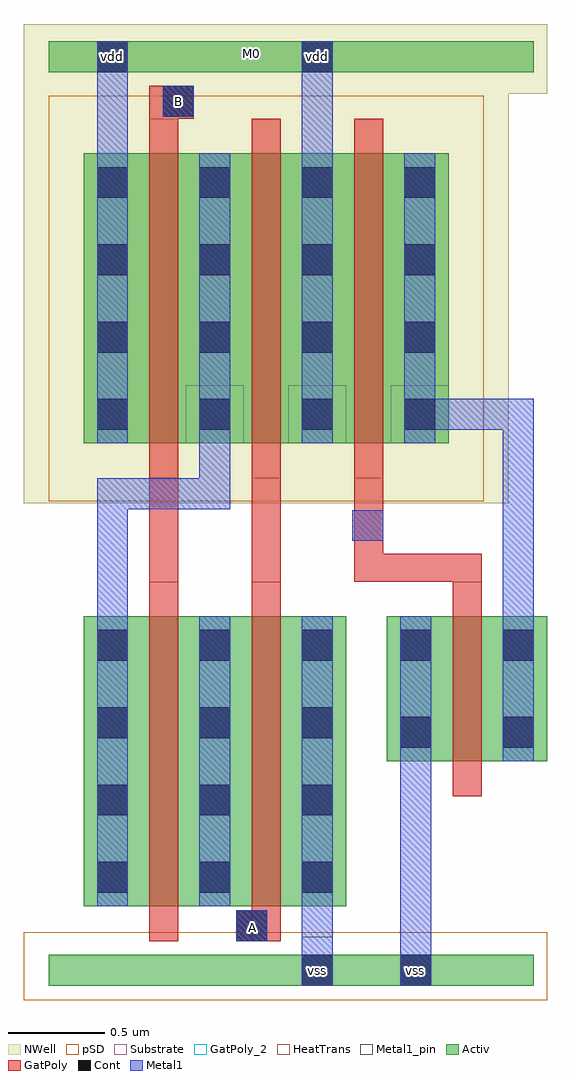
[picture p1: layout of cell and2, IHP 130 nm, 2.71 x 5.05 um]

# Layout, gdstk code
import gdstk
lib = gdstk.Library(unit=1e-6, precision=5e-09)
def R(c, l, rs):  # rectangles x0, y0, x1, y1
    for r in rs: c.add(gdstk.rectangle(r[:2], r[2:], *l))
def A(c, l, x, y, w, h, nx, ny, dx, dy):  # array of equal rectangles
    R(c, l, [(x+i*dx, y+j*dy, x+i*dx+w, y+j*dy+h) for i in range(nx) for j in range(ny)])
Activ = (1, 0)
GatPoly = (5, 0)
GatPoly_2 = (5, 2)
Cont = (6, 0)
Metal1 = (8, 0)
Metal1_pin = (8, 2)
pSD = (14, 0)
NWell = (31, 0)
Substrate = (40, 0)
HeatTrans = (51, 0)

pmos_1 = lib.new_cell('pmos$1')
R(pmos_1, Activ, [(0,0,0.3,0.3), (0,0,0.83,1.5), (0.53,0,0.83,0.3)])
R(pmos_1, GatPoly, [(0.34,-0.18,0.49,1.68), (0.34,-0.18,0.49,1.68)])
A(pmos_1, Cont, 0.07, 0.07, 0.16, 0.16, 1, 4, 0, 0.4)
A(pmos_1, Cont, 0.6, 0.07, 0.16, 0.16, 1, 4, 0, 0.4)
R(pmos_1, Metal1, [(0.07,0,0.23,1.5), (0.07,0,0.23,1.5), (0.6,0,0.76,1.5), (0.6,0,0.76,1.5)])
R(pmos_1, pSD, [(-0.18,-0.3,1.01,1.8)])
R(pmos_1, NWell, [(-0.31,-0.31,1.14,1.81)])
R(pmos_1, Substrate, [(0.53,0,0.83,0.3)])
R(pmos_1, HeatTrans, [(0.34,-0.18,0.49,1.68)])
pmos_1.add(gdstk.Label('pmos', (0.415,0.75), layer=63, texttype=0))
pmos_1.add(gdstk.Label('pmos', (0.415,0.75), layer=51, texttype=0))

nmos_1 = lib.new_cell('nmos$1')
R(nmos_1, Activ, [(0,0,0.3,0.3), (0,0,0.83,0.75), (0.53,0,0.83,0.3)])
R(nmos_1, GatPoly, [(0.34,-0.18,0.49,0.93)])
R(nmos_1, GatPoly_2, [(0.34,-0.18,0.49,0.93)])
R(nmos_1, Cont, [(0.07,0.07,0.23,0.23), (0.6,0.07,0.76,0.23), (0.07,0.52,0.23,0.68), (0.6,0.52,0.76,0.68)])
R(nmos_1, Metal1, [(0.07,0,0.23,0.75), (0.6,0,0.76,0.75)])
R(nmos_1, Metal1_pin, [(0.07,0,0.23,0.75), (0.6,0,0.76,0.75)])
R(nmos_1, HeatTrans, [(0.34,-0.18,0.49,0.93)])
nmos_1.add(gdstk.Label('nmos', (0.415,0.375), layer=63, texttype=0))
nmos_1.add(gdstk.Label('nmos', (0.415,0.375), layer=51, texttype=0))

nmos = lib.new_cell('nmos')
R(nmos, Activ, [(0,0,0.3,0.3), (0,0,0.83,1.5), (0.53,0,0.83,0.3)])
R(nmos, GatPoly, [(0.34,-0.18,0.49,1.68)])
R(nmos, GatPoly_2, [(0.34,-0.18,0.49,1.68)])
A(nmos, Cont, 0.07, 0.07, 0.16, 0.16, 1, 4, 0, 0.4)
A(nmos, Cont, 0.6, 0.07, 0.16, 0.16, 1, 4, 0, 0.4)
R(nmos, Metal1, [(0.07,0,0.23,1.5), (0.6,0,0.76,1.5)])
R(nmos, Metal1_pin, [(0.07,0,0.23,1.5), (0.6,0,0.76,1.5)])
R(nmos, HeatTrans, [(0.34,-0.18,0.49,1.68)])
nmos.add(gdstk.Label('nmos', (0.415,0.75), layer=63, texttype=0))
nmos.add(gdstk.Label('nmos', (0.415,0.75), layer=51, texttype=0))

and2 = lib.new_cell('and2')
R(and2, Activ, [(-0.94,-1.52,1.57,-1.36), (-0.94,3.205,1.57,3.365)])
A(and2, GatPoly, -0.42, 0.57, 0.15, 0.535, 3, 1, 0.53, 0)
R(and2, GatPoly, [(0.03,-1.29,0.19,-1.13), (0.03,-1.29,0.185,-1.13), (0.64,0.57,1.3,0.715), (-0.42,2.965,-0.19,3.135)])
R(and2, Cont, [(0.37,-1.52,0.53,-1.36), (0.88,-1.52,1.04,-1.36), (0.03,-1.29,0.19,-1.13), (-0.35,2.975,-0.19,3.135), (-0.69,3.205,-0.53,3.365), (0.37,3.205,0.53,3.365)])
R(and2, Metal1, [(0.37,-1.52,0.53,-1.11), (0.88,-1.52,1.04,-0.36), (0.03,-1.29,0.19,-1.13), (-0.69,0.39,-0.53,1.105), (1.41,0.39,1.57,1.515), (0.63,0.78,0.79,0.94), (-0.69,0.945,0,1.105), (-0.16,0.98,0,1.35), (0.9,1.355,1.41,1.515), (-0.69,2.775,-0.53,3.365), (0.37,2.785,0.53,3.365), (-0.35,2.975,-0.19,3.135)])
R(and2, Metal1_pin, [(0.88,-1.52,1.04,-1.36), (0.03,-1.29,0.19,-1.13), (0.37,-1.27,0.53,-1.11), (0.63,0.78,0.79,0.94), (0.63,0.78,0.79,0.94), (-0.35,2.975,-0.19,3.135)])
R(and2, pSD, [(-1.07,-1.595,1.64,-1.245)])
R(and2, NWell, [(-1.07,3.095,1.64,3.455)])
and2.add(gdstk.Reference(pmos_1, (-0.76,1.285)))
and2.add(gdstk.Reference(pmos_1, (0.3,1.285)))
and2.add(gdstk.Reference(nmos_1, (0.81,-0.36)))
and2.add(gdstk.Reference(pmos_1, (-0.23,1.285)))
and2.add(gdstk.Reference(nmos, (-0.23,-1.11)))
and2.add(gdstk.Reference(nmos, (-0.76,-1.11)))
and2.add(gdstk.Label('vdd', (-0.61,3.285), layer=8, texttype=2))
and2.add(gdstk.Label('vdd', (0.45,3.285), layer=8, texttype=2))
and2.add(gdstk.Label('vss', (0.45,-1.44), layer=8, texttype=2))
and2.add(gdstk.Label('vss', (0.96,-1.44), layer=8, texttype=2))
and2.add(gdstk.Label('A', (0.115,-1.22), layer=8, texttype=2))
and2.add(gdstk.Label('B', (-0.27,3.055), layer=8, texttype=2))
and2.add(gdstk.Label('M0', (0.11,3.3), layer=63, texttype=0))

lib.write_gds('and2.gds')
